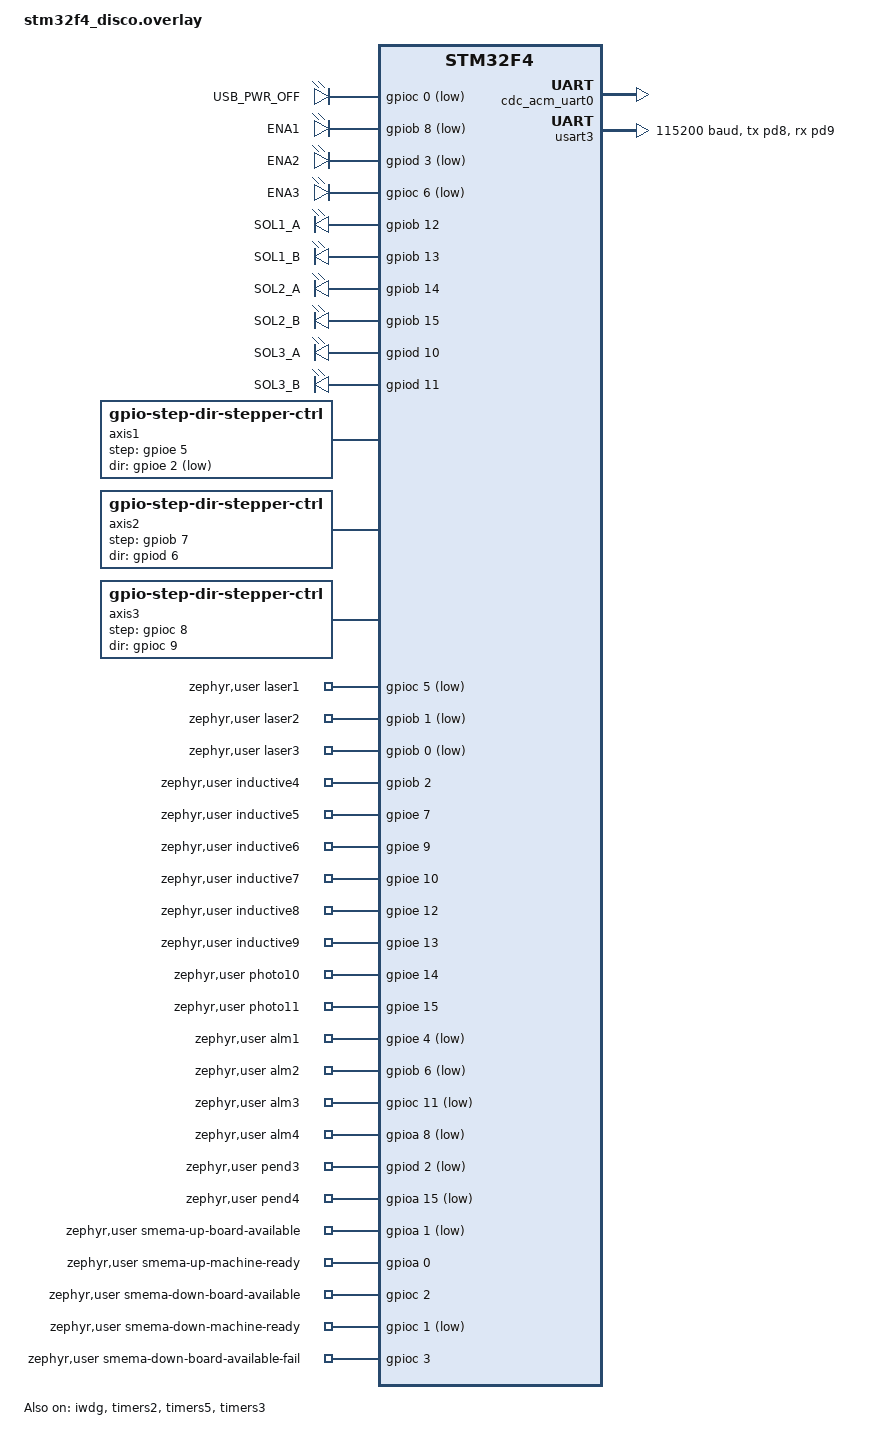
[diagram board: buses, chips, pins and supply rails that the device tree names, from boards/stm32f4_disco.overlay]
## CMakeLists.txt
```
cmake_minimum_required(VERSION 3.20.0)
find_package(Zephyr REQUIRED HINTS $ENV{ZEPHYR_BASE})
project(prod-tester-motion-ctrl LANGUAGES CXX C)

# Common sources (universal, machine-independent)
target_sources(app PRIVATE
    src/main.cpp
    src/app.cpp
    src/hal/gpio_pin.cpp
    src/components/stepper_motor.cpp
    src/components/cylinder.cpp
    src/components/smema_upstream.cpp
    src/components/smema_downstream.cpp
    src/components/conveyor.cpp
    src/components/head.cpp
    src/components/sensor.cpp
    src/engine/engine.cpp
    src/engine/fault.cpp
    src/config/config_store.cpp
    src/cli/cli_machine.cpp
    src/cli/cli_manual.cpp
    src/cli/cli_config.cpp
    src/cli/cli_diag.cpp
    src/comm/tester_protocol.cpp
)

# Machine-specific sequence (selected by Kconfig)
if(CONFIG_MACHINE_INFEED_TESTER)
    target_sources(app PRIVATE src/machines/infeed_tester.cpp)
endif()

target_include_directories(app PRIVATE src)

target_compile_options(app PRIVATE
    -fno-exceptions
    -fno-rtti
    -Wall
    -Wextra
    -Wno-unused-parameter
)
```

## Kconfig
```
mainmenu "Production Tester Motion Controller"

source "Kconfig.zephyr"

config SCAN_PERIOD_MS
    int "SFC engine scan period (ms)"
    default 5
    range 1 50
    help
      Cyclic scan interval for the SFC engine. Lower = faster response,
      higher CPU load.

config CYLINDER_CONFIRM_TIMEOUT_MS
    int "Default cylinder confirm timeout (ms)"
    default 10000
    range 1000 60000
    help
      Maximum time to wait for a cylinder position sensor to confirm.
      Set high for commissioning, low for production.

config MOTOR_STEPS_PER_REV
    int "Stepper motor steps per revolution"
    default 2000
    help
      Microstep setting on the drives (P001 on HBS57/SS86D).

choice MACHINE_TYPE
    prompt "Target machine"
    default MACHINE_INFEED_TESTER

config MACHINE_INFEED_TESTER
    bool "Infeed PCB tester (Shelly)"
    help
      Infeed conveyor-based PCB test fixture with 3 axis banks (4 motors),
      3 cylinders, SMEMA handshake, and 11 sensors.

endchoice
```

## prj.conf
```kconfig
# C++ support
CONFIG_CPP=y
CONFIG_STD_CPP17=y

# Shell (CLI)
CONFIG_SHELL=y
CONFIG_SHELL_BACKEND_SERIAL=y
CONFIG_SHELL_CMD_BUFF_SIZE=128
CONFIG_SHELL_PROMPT_CHANGE=y
CONFIG_SHELL_PROMPT_BUFF_SIZE=40
CONFIG_SHELL_VT100_COLORS=y

# USB CDC-ACM (operator console)
CONFIG_USB_DEVICE_STACK=y
CONFIG_USB_CDC_ACM=y
CONFIG_USB_DEVICE_INITIALIZE_AT_BOOT=y
CONFIG_USB_DEVICE_PRODUCT="PTMC Motion Controller"
CONFIG_UART_LINE_CTRL=y

# UART (tester communication)
CONFIG_SERIAL=y

# Settings persistence (ZMS)
CONFIG_FLASH=y
CONFIG_FLASH_MAP=y
CONFIG_FLASH_PAGE_LAYOUT=y
CONFIG_MPU_ALLOW_FLASH_WRITE=y
CONFIG_ZMS=y
CONFIG_SETTINGS=y
CONFIG_SETTINGS_ZMS=y

# Malloc arena (avoid bus fault on non-contiguous SRAM)
CONFIG_COMMON_LIBC_MALLOC_ARENA_SIZE=8192

# Watchdog
CONFIG_WATCHDOG=y

# Logging
CONFIG_LOG=y
CONFIG_LOG_BACKEND_UART=y
CONFIG_LOG_MODE_DEFERRED=y

# GPIO
CONFIG_GPIO=y

# Stepper driver
CONFIG_STEPPER=y

# Counter (step timing)
CONFIG_COUNTER=y

# Machine selection
CONFIG_MACHINE_INFEED_TESTER=y

# Float printf support (for mm display)
CONFIG_CBPRINTF_FP_SUPPORT=y
```

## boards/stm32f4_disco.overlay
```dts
/*
 * prod-tester-motion-ctrl — STM32F407 Discovery on the Shelly "Main"
 * test-fixture board. Pin map: hw_docs/PIN_map_v5.csv (canonical).
 *
 * 3 step/dir/ena output banks drive 4 step-servo drives; banks 1 and 2
 * drive one motor each, bank 3 drives two SYNCHRONOUS motors in parallel
 * (same pulse train). Each of the 4 drives reports ALM+ (alarm); only
 * drives 3 and 4 (head) report PEND+ (position end). 11 process sensors
 * (PNP) + SMEMA conveyor handshake.
 *
 *   Bank   STEP(PLS-)   DIR-     ENA-     PEND+    ALM+
 *   1      PE5          PE2      PB8      -        PE4
 *   2      PB7          PD6      PD3      -        PB6
 *   3      PC8          PC9      PC6      PD2      PC11   (motor 3)
 *   3*     (shared)     -        -        PA15     PA8    (motor 4)
 *
 * MCU pin HIGH -> NPN sink ON -> drive opto energised = asserted.
 */

/* ---- Free pins the board otherwise claims ----------------------------- */
&i2c1   { status = "disabled"; };
&i2s3   { status = "disabled"; };
&plli2s { status = "disabled"; };
&can1   { status = "disabled"; };
&can2   { status = "disabled"; };

/* ---- USB OTG power switch U6: keep VBUS off (device mode) ----------- */
/ {
	usb_pwr_off {
		compatible = "gpio-leds";
		usb_pwr: usb_pwr {
			gpios = <&gpioc 0 GPIO_ACTIVE_LOW>;
			label = "USB_PWR_OFF";
		};
	};
};

/* ---- Clock: HSI self-clocked (mini-USB = debug only) ------------------ */
&clk_hsi { status = "okay"; };
&pll {
	div-m  = <16>;
	mul-n  = <336>;
	div-p  = <2>;
	div-q  = <7>;
	clocks = <&clk_hsi>;
	status = "okay";
};
&clk_hse { status = "disabled"; };

/* ---- Watchdog --------------------------------------------------------- */
&iwdg { status = "okay"; };

/* ---- Persistent settings (ZMS) ---------------------------------------- */
&flash0 {
	partitions {
		compatible = "fixed-partitions";
		#address-cells = <1>;
		#size-cells = <1>;
		config_partition: partition@80000 {
			label = "config_blob";
			reg = <0x00080000 0x00020000>;   /* 128K: sector 8 */
		};
		storage_partition: partition@a0000 {
			label = "storage";
			reg = <0x000a0000 0x00060000>;   /* 384K: sectors 9-11 */
		};
	};
};

/* ---- Console: USB-CDC-ACM (OTG-FS, micro-USB CN5) --------------------- */
&zephyr_udc0 {
	cdc_acm_uart0: cdc_acm_uart0 {
		compatible = "zephyr,cdc-acm-uart";
	};
};
/ {
	chosen {
		zephyr,console    = &usart3;
		zephyr,shell-uart = &usart3;
	};
};
&usart2 { status = "disabled"; };

/* ---- USART3: tester communication (PD8 TX, PD9 RX) ------------------- */
&usart3 {
	pinctrl-0 = <&usart3_tx_pd8 &usart3_rx_pd9>;
	pinctrl-names = "default";
	current-speed = <115200>;
	status = "okay";
};

/* ---- Step-timing counters (one per bank) ------------------------------ */
&timers2 {
	status = "okay";
	st,prescaler = <0>;
	axis1_counter: counter { compatible = "st,stm32-counter"; status = "okay"; };
};
&timers5 {
	status = "okay";
	st,prescaler = <0>;
	axis3_counter: counter { compatible = "st,stm32-counter"; status = "okay"; };
};
&timers3 {
	status = "okay";
	st,prescaler = <0>;
	axis2_counter: counter { compatible = "st,stm32-counter"; status = "okay"; };
};

/ {
	aliases {
		stepper = &axis1;
	};

	/* ENA lines: GPIO_ACTIVE_LOW (logical 1 = enabled = pin LOW) */
	motor_enables {
		compatible = "gpio-leds";
		ena1: ena1 { gpios = <&gpiob 8 GPIO_ACTIVE_LOW>; label = "ENA1"; };
		ena2: ena2 { gpios = <&gpiod 3 GPIO_ACTIVE_LOW>; label = "ENA2"; };
		ena3: ena3 { gpios = <&gpioc 6 GPIO_ACTIVE_LOW>; label = "ENA3"; };
	};

	/* 3 double-solenoid bistable valves (SMC SY3220-5LOU) */
	solenoids {
		compatible = "gpio-leds";
		sol1_a: sol1_a { gpios = <&gpiob 12 GPIO_ACTIVE_HIGH>; label = "SOL1_A"; };
		sol1_b: sol1_b { gpios = <&gpiob 13 GPIO_ACTIVE_HIGH>; label = "SOL1_B"; };
		sol2_a: sol2_a { gpios = <&gpiob 14 GPIO_ACTIVE_HIGH>; label = "SOL2_A"; };
		sol2_b: sol2_b { gpios = <&gpiob 15 GPIO_ACTIVE_HIGH>; label = "SOL2_B"; };
		sol3_a: sol3_a { gpios = <&gpiod 10 GPIO_ACTIVE_HIGH>; label = "SOL3_A"; };
		sol3_b: sol3_b { gpios = <&gpiod 11 GPIO_ACTIVE_HIGH>; label = "SOL3_B"; };
	};

	/* 3 step/dir banks */
	axis1: axis1 {
		compatible = "zephyr,gpio-step-dir-stepper-ctrl";
		step-gpios = <&gpioe 5 GPIO_ACTIVE_HIGH>;
		dir-gpios  = <&gpioe 2 GPIO_ACTIVE_LOW>;
		counter    = <&axis1_counter>;
	};
	axis2: axis2 {
		compatible = "zephyr,gpio-step-dir-stepper-ctrl";
		step-gpios = <&gpiob 7 GPIO_ACTIVE_HIGH>;
		dir-gpios  = <&gpiod 6 GPIO_ACTIVE_HIGH>;
		counter    = <&axis2_counter>;
	};
	axis3: axis3 {
		compatible = "zephyr,gpio-step-dir-stepper-ctrl";
		step-gpios = <&gpioc 8 GPIO_ACTIVE_HIGH>;
		dir-gpios  = <&gpioc 9 GPIO_ACTIVE_HIGH>;
		counter    = <&axis3_counter>;
	};

	zephyr,user {
		/* 11 process sensors (3 laser + 6 inductive + 2 photo-electric) */
		laser1-gpios     = <&gpioc  5 (GPIO_ACTIVE_LOW | GPIO_PULL_UP)>;
		laser2-gpios     = <&gpiob  1 (GPIO_ACTIVE_LOW | GPIO_PULL_UP)>;
		laser3-gpios     = <&gpiob  0 (GPIO_ACTIVE_LOW | GPIO_PULL_UP)>;
		inductive4-gpios = <&gpiob  2 (GPIO_ACTIVE_HIGH | GPIO_PULL_DOWN)>;
		inductive5-gpios = <&gpioe  7 (GPIO_ACTIVE_HIGH | GPIO_PULL_DOWN)>;
		inductive6-gpios = <&gpioe  9 (GPIO_ACTIVE_HIGH | GPIO_PULL_DOWN)>;
		inductive7-gpios = <&gpioe 10 (GPIO_ACTIVE_HIGH | GPIO_PULL_DOWN)>;
		inductive8-gpios = <&gpioe 12 (GPIO_ACTIVE_HIGH | GPIO_PULL_DOWN)>;
		inductive9-gpios = <&gpioe 13 (GPIO_ACTIVE_HIGH | GPIO_PULL_DOWN)>;
		photo10-gpios    = <&gpioe 14 (GPIO_ACTIVE_HIGH | GPIO_PULL_DOWN)>;
		photo11-gpios    = <&gpioe 15 (GPIO_ACTIVE_HIGH | GPIO_PULL_DOWN)>;

		/* Drive ALM+ feedback (open-collector: idle high, asserted low) */
		alm1-gpios = <&gpioe  4 (GPIO_ACTIVE_LOW | GPIO_PULL_UP)>;
		alm2-gpios = <&gpiob  6 (GPIO_ACTIVE_LOW | GPIO_PULL_UP)>;
		alm3-gpios = <&gpioc 11 (GPIO_ACTIVE_LOW | GPIO_PULL_UP)>;
		alm4-gpios = <&gpioa  8 (GPIO_ACTIVE_LOW | GPIO_PULL_UP)>;

		/* Drive PEND+ feedback (only head motors 3+4) */
		pend3-gpios = <&gpiod  2 (GPIO_ACTIVE_LOW | GPIO_PULL_UP)>;
		pend4-gpios = <&gpioa 15 (GPIO_ACTIVE_LOW | GPIO_PULL_UP)>;

		/* SMEMA conveyor handshake */
		smema-up-board-available-gpios   = <&gpioa 1 (GPIO_ACTIVE_LOW | GPIO_PULL_UP)>;
		smema-up-machine-ready-gpios     = <&gpioa 0 GPIO_ACTIVE_HIGH>;
		smema-down-board-available-gpios = <&gpioc 2 GPIO_ACTIVE_HIGH>;
		smema-down-machine-ready-gpios   = <&gpioc 1 (GPIO_ACTIVE_LOW | GPIO_PULL_UP)>;
		smema-down-board-available-fail-gpios = <&gpioc 3 GPIO_ACTIVE_HIGH>;
	};
};
```

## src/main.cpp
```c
#include "app.h"
#include "engine/engine.h"
#include "engine/step.h"
#include "components/stepper_motor.h"
#include "components/cylinder.h"
#include "components/smema_port.h"
#include "components/sensor.h"
#include "config/config_store.h"

#include <zephyr/kernel.h>
#include <zephyr/drivers/gpio.h>
#include <zephyr/settings/settings.h>
#include <zephyr/logging/log.h>

LOG_MODULE_REGISTER(main, LOG_LEVEL_INF);

extern engine::EngineConfig machine_engine_config;
extern engine::Context machine_context;
extern int machine_init(void);
extern void config_apply_saved(void);
extern void config_try_blob_fallback(void);
extern uint8_t config_cyl_idle_pos(int idx);

static config::ConfigStore config_store;
static engine::Engine sfc_engine;

static void scan_work_handler(struct k_work *work);
K_WORK_DEFINE(scan_work, scan_work_handler);

static void scan_timer_handler(struct k_timer *timer);
K_TIMER_DEFINE(scan_timer, scan_timer_handler, NULL);

static void scan_timer_handler(struct k_timer *timer)
{
    ARG_UNUSED(timer);
    k_work_submit(&scan_work);
}

static void scan_work_handler(struct k_work *work)
{
    ARG_UNUSED(work);
    sfc_engine.scan(machine_context);
}

int main(void)
{
    /* Keep USB OTG power switch U6 off (PC0 HIGH = VBUS disabled) */
    static const struct gpio_dt_spec usb_pwr =
        GPIO_DT_SPEC_GET(DT_NODELABEL(usb_pwr), gpios);
    gpio_pin_configure_dt(&usb_pwr, GPIO_OUTPUT_INACTIVE);

    LOG_INF("prod-tester-motion-ctrl v0.1.0 starting");

    int err = config_store.init();
    if (err) {
        LOG_WRN("config store init: %d (continuing with defaults)", err);
    }

    err = machine_init();
    if (err) {
        LOG_ERR("machine init failed: %d", err);
        return err;
    }

    err = sfc_engine.init(machine_engine_config, machine_context);
    if (err) {
        LOG_ERR("engine init failed: %d", err);
        return err;
    }

    app::init(&sfc_engine, &machine_context, &scan_timer);

    // Load and apply saved motor parameters from flash
    err = settings_subsys_init();
    if (err) {
        LOG_WRN("settings init: %d", err);
    } else {
        err = settings_load();
        if (err) {
            LOG_WRN("settings load: %d", err);
        } else {
            config_apply_saved();
        }
    }

    config_try_blob_fallback();

    // Move cylinders to idle positions — reverse of arm order (clear path first)
    // Order: rfid, locker, stopper (mirrors release sequence: steps 12→13→14)
    LOG_INF("Cylinders to idle positions...");
    component::Cylinder *cyls[] = { machine_context.stopper, machine_context.rfid, machine_context.locker };
    int reset_order[] = { 1, 2, 0 };  // rfid, locker, stopper
    for (int i = 0; i < 3; i++) {
        int idx = reset_order[i];
        if (cyls[idx]) {
            auto pos = config_cyl_idle_pos(idx) ? component::CylPosition::POS_B : component::CylPosition::POS_A;
            cyls[idx]->goTo(pos);
        }
    }

    // Auto-home head (after settings are applied)
    auto *head_motor = machine_context.head->motor();
    if (head_motor && head_motor->config().auto_home) {
        LOG_INF("Auto-homing head with home_rpm=%u...",
                head_motor->config().home_rpm);
        head_motor->setEnabled(true);
        err = machine_context.head->home();
        if (err) {
            LOG_ERR("head home failed: %d", err);
        }
    }

    LOG_INF("Auto-starting sequence...");
    machine_context.conveyor->beltMotor()->setEnabled(true);
    machine_context.head->motor()->setEnabled(true);
    sfc_engine.setMode(engine::OperatingMode::AUTO);
    sfc_engine.start();
    app::startScan();
    LOG_INF("System running.");
    return 0;
}
```

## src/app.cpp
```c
#include "app.h"

#include <zephyr/logging/log.h>
#include <zephyr/shell/shell.h>
#include <zephyr/shell/shell_uart.h>

LOG_MODULE_REGISTER(app, LOG_LEVEL_INF);

namespace app {

static engine::Engine *s_engine;
static engine::Context *s_ctx;
static struct k_timer *s_timer;
static AccessLevel s_access = AccessLevel::OPERATOR;

static void update_prompt()
{
    const struct shell *sh = shell_backend_uart_get_ptr();
    if (!sh) return;

    switch (s_access) {
    case AccessLevel::OPERATOR:
        shell_prompt_change(sh, "\x1b[32moperator\x1b[0m> ");
        break;
    case AccessLevel::PROC_ENG:
        shell_prompt_change(sh, "\x1b[33mproc_eng\x1b[0m> ");
        break;
    case AccessLevel::FACTORY:
        shell_prompt_change(sh, "\x1b[1;31mFACTORY\x1b[0m> ");
        break;
    }
}

void init(engine::Engine *eng, engine::Context *ctx, struct k_timer *timer)
{
    s_engine = eng;
    s_ctx = ctx;
    s_timer = timer;
    update_prompt();
}

engine::Engine *engine() { return s_engine; }
engine::Context *context() { return s_ctx; }

AccessLevel accessLevel() { return s_access; }
void setAccessLevel(AccessLevel level)
{
    s_access = level;
    update_prompt();
}
bool isFactory() { return s_access == AccessLevel::FACTORY; }

void startScan()
{
    if (s_timer) {
        k_timer_start(s_timer, K_MSEC(CONFIG_SCAN_PERIOD_MS),
                      K_MSEC(CONFIG_SCAN_PERIOD_MS));
        LOG_INF("Scan timer started (%d ms)", CONFIG_SCAN_PERIOD_MS);
    }
}

void stopScan()
{
    if (s_timer) {
        k_timer_stop(s_timer);
        LOG_INF("Scan timer stopped");
    }
}

} // namespace app
```

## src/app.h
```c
#pragma once

#include "engine/engine.h"
#include "engine/context.h"

#include <zephyr/kernel.h>

namespace app {

enum class AccessLevel : uint8_t {
    OPERATOR,   // can only start/stop, select recipe
    PROC_ENG,   // process engineer: speeds, limits, positions
    FACTORY,    // full access, soft limits disabled
};

void init(engine::Engine *eng, engine::Context *ctx, struct k_timer *timer);

engine::Engine *engine();
engine::Context *context();

AccessLevel accessLevel();
void setAccessLevel(AccessLevel level);
bool isFactory();

void startScan();
void stopScan();

} // namespace app
```
